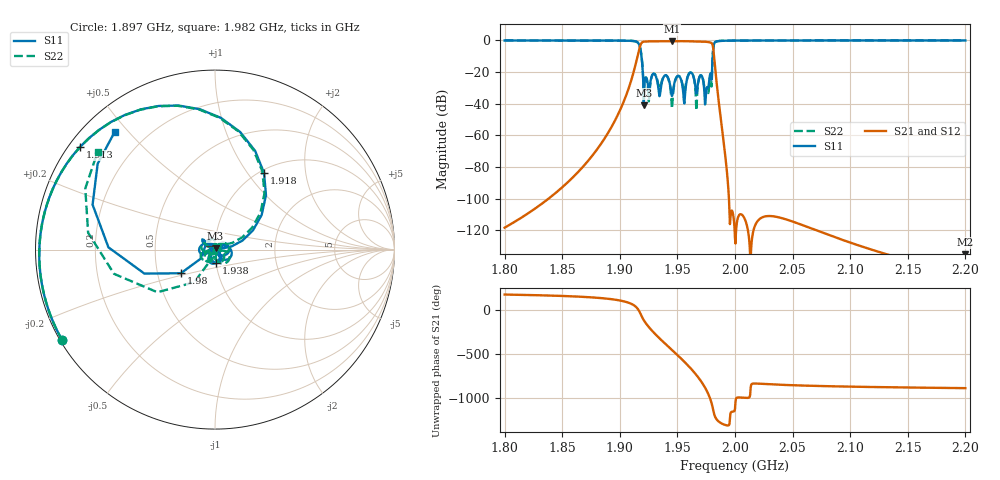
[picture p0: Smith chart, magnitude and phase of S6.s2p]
! Touchstone file exported from HFSS 2023.1.0
!  File:  E:/3.%x6211%x7684%x8BBA%x6587/%x65B0%x6D4B%x8BD5/CoaxialF93.aedt
!  Generated:  9:33:52 %x4E0B%x5348  5%x6708 26, 2023
!  Design:  S6
!  Project:  CoaxialF93
!  Setup:  Setup1
!  Solution:  Sweep
! Variables:
!  Hin1 = 26mm
!  Hout = 29mm
!  L12 = 14.8mm
!  L13 = 14.8mm
!  L23 = 6.95mm
!  L34 = 12.5mm
!  L45 = 8.53mm
!  L46 = 3.83mm
!  L56 = 8.25mm
!  L67 = 12.5mm
!  L78 = 7.8mm
!  L79 = 13.2mm
!  L89 = 15.3mm
!  Rin = 5mm
!  Rin2 = 4mm
!  Rout = 15mm
!  Rport = 1.15mm
!  Rport2 = 3mm
!  Rportin = 0.5mm
!  d = 3mm
!  d01 = 2.9mm
!  d02 = 3.53mm
!  d03 = 3.66mm
!  d04 = 3.73mm
!  d05 = 3.73mm
!  d06 = 3.73mm
!  d07 = 3.66mm
!  d08 = 3.53mm
!  d09 = 2.9mm
!  d12 = 18mm
!  d12x = 15.5mm
!  d12y = 25mm
!  d23 = 18mm
!  d34 = 30mm
!  hport = 10.4mm
!  hport2 = 10.4mm
!  lport = 12mm
!  lport2 = 1mm
!  lport_2 = 12mm
!  m = 2mm
!  w12 = 12mm
!  w13 = 10mm
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# GHz S MA R 50.000000
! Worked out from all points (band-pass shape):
!   1001 points, 1.8 GHz to 2.2 GHz, reference 50 ohm
!   highest |S21| = -0.44 dB at 1.945 GHz (marker M1); lowest = -148.0 dB at 2.2 GHz (marker M2)
!   |S21| within 3 dB of the highest: 1.918 GHz to 1.981 GHz (63.04 MHz wide, 3.23 % of centre)
!   lowest |S11| = -41.0 dB at 1.921 GHz (marker M3), VSWR 1.02, Z = 50.3 + j0.836 ohm
!   |S11| at or under -10 dB: 1.919 GHz to 1.981 GHz (61.79 MHz wide, 3.17 % of centre)
!   |S22| runs from -44.3 to 0.0 dB; largest |S21 - S12| = 1.1e-10
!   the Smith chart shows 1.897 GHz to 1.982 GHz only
!   S11 on the Smith chart (normalised r, x): 1.897 GHz: 0.01, -0.27; 1.913 GHz: 0.03, +0.34; 1.918 GHz: 1.04, +1.20; 1.938 GHz: 1.00, -0.15; 1.98 GHz: 0.66, -0.18; 1.982 GHz: 0.09, +0.46
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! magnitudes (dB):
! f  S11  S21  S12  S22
! 1.8 GHz  0.0  -118.3  -118.3  0.0
! 1.867 GHz  0.0  -80.8  -80.8  0.0
! 1.897 GHz  -0.1  -48.6  -48.6  -0.1
! 1.913 GHz  -0.5  -16.6  -16.6  -0.5
! 1.918 GHz  -5.9  -2.8  -2.8  -5.9
! 1.921 GHz  -41.0  -0.8  -0.8  -30.2
! 1.934 GHz  -30.8  -0.5  -0.5  -28.4
! 1.938 GHz  -22.6  -0.5  -0.5  -22.5
! 1.945 GHz  -35.1  -0.4  -0.4  -43.1
! 1.951 GHz  -22.4  -0.5  -0.5  -22.4
! 1.956 GHz  -39.8  -0.5  -0.5  -32.6
! 1.961 GHz  -20.3  -0.5  -0.5  -20.3
! 1.966 GHz  -31.7  -0.6  -0.6  -35.4
! 1.97 GHz  -21.9  -0.7  -0.7  -21.9
! 1.975 GHz  -31.2  -0.9  -0.9  -30.0
! 1.98 GHz  -12.7  -2.5  -2.5  -13.3
! 1.982 GHz  -1.3  -14.5  -14.5  -1.4
! 1.992 GHz  -0.2  -78.6  -78.6  -0.2
! 2 GHz  -0.1  -125.1  -125.1  -0.1
! 2.067 GHz  0.0  -118.9  -118.9  0.0
! 2.134 GHz  0.0  -135.5  -135.5  0.0
! 2.2 GHz  0.0  -148.0  -148.0  0.0
